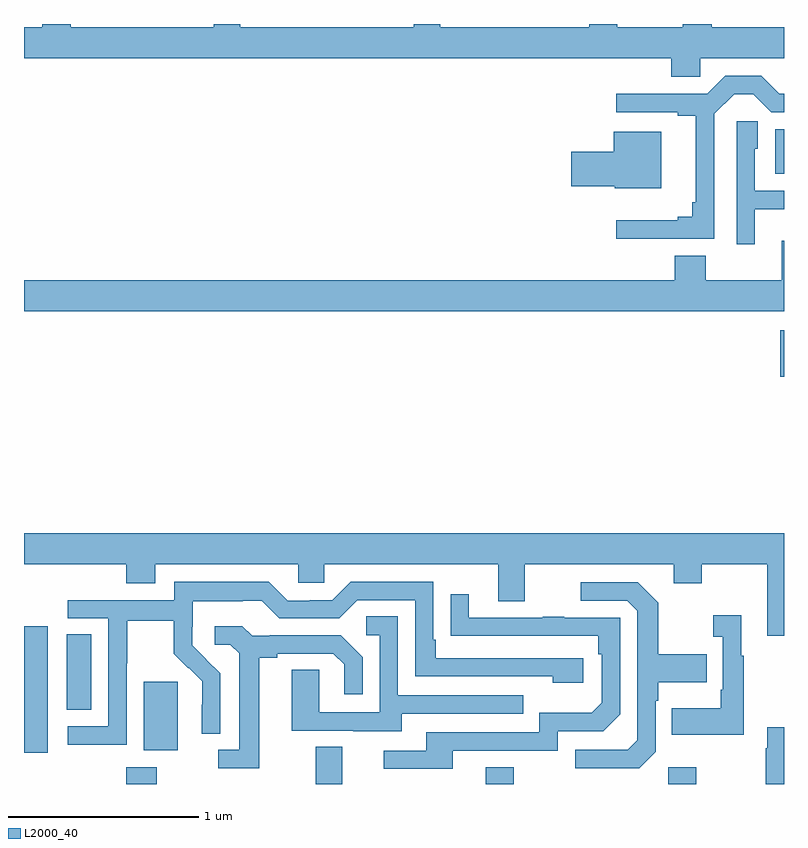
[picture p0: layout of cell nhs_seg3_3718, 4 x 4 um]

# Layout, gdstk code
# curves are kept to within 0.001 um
import gdstk
lib = gdstk.Library(unit=1e-6, precision=1e-09)
def R(c, l, rs):  # rectangles x0, y0, x1, y1
    for r in rs: c.add(gdstk.rectangle(r[:2], r[2:], *l))
def P(c, l, *ps):  # polygons
    for p in ps: c.add(gdstk.Polygon(p, *l))
L2000_40 = (2000, 40)

nhs_seg3_3718 = lib.new_cell('nhs_seg3_3718')
R(nhs_seg3_3718, L2000_40, [(303.539,726.4,303.699,726.487), (304.535,726.4,304.675,726.596), (305.429,726.4,305.577,726.487), (306.39,726.4,306.537,726.487), (303,726.564,303.124,727.231), (303.629,726.578,303.808,726.939), (303.224,726.79,303.355,727.187), (306.98,728.543,307,728.788), (306.953,729.611,307,729.847)])
P(nhs_seg3_3718, L2000_40, [(306.558,730.22),(307,730.22),(307,730.384),(306.62,730.384),(306.62,730.4),(306.467,730.4),(306.467,730.384),(306.123,730.384),(306.123,730.4),(305.975,730.4),(305.975,730.384),(305.191,730.384),(305.191,730.4),(305.051,730.4),(305.051,730.384),(304.137,730.384),(304.137,730.4),(303.999,730.4),(303.999,730.384),(303.247,730.384),(303.247,730.4),(303.095,730.4),(303.095,730.384),(303,730.384),(303,730.22),(306.407,730.22),(306.407,730.122),(306.558,730.122)],
  [(306.329,729.27),(306.633,729.27),(306.633,729.927),(306.737,730.031),(306.838,730.031),(306.933,729.936),(307,729.936),(307,730.032),(306.975,730.032),(306.879,730.128),(306.692,730.128),(306.596,730.032),(306.363,730.032),(306.363,730.034),(306.117,730.034),(306.117,729.936),(306.44,729.936),(306.44,729.916),(306.536,729.916),(306.536,729.463),(306.517,729.463),(306.517,729.386),(306.44,729.386),(306.44,729.367),(306.117,729.367),(306.117,729.269)],
  [(306.847,729.425),(307,729.425),(307,729.522),(306.846,729.522),(306.846,729.744),(306.862,729.744),(306.862,729.887),(306.75,729.887),(306.75,729.24),(306.847,729.24)],
  [(306.355,729.832),(306.104,729.832),(306.104,729.728),(305.88,729.728),(305.88,729.545),(306.108,729.545),(306.108,729.536),(306.355,729.536)],
  [(307,729.259),(306.989,729.259),(306.989,729.052),(306.589,729.052),(306.589,729.181),(306.425,729.181),(306.425,729.052),(303,729.052),(303,728.888),(307,728.888)],
  [(307,727.72),(303,727.72),(303,727.556),(303.539,727.556),(303.539,727.457),(303.691,727.457),(303.691,727.556),(304.443,727.556),(304.443,727.458),(304.581,727.458),(304.581,727.556),(305.495,727.556),(305.495,727.362),(305.635,727.362),(305.635,727.556),(306.419,727.556),(306.419,727.457),(306.567,727.457),(306.567,727.556),(306.911,727.556),(306.911,727.179),(307,727.179)],
  [(303.54,727.036),(303.543,727.036),(303.543,727.26),(303.787,727.26),(303.787,727.085),(303.864,727.008),(303.867,727.011),(303.938,726.941),(303.938,726.818),(303.936,726.818),(303.936,726.664),(304.032,726.664),(304.032,726.982),(303.886,727.13),(303.886,727.227),(303.888,727.227),(303.888,727.361),(304.151,727.361),(304.151,727.365),(304.251,727.365),(304.344,727.272),(304.659,727.272),(304.755,727.368),(305.058,727.368),(305.058,726.966),(305.783,726.966),(305.783,726.932),(305.944,726.932),(305.944,727.062),(305.167,727.062),(305.167,727.159),(305.154,727.159),(305.154,727.464),(304.719,727.464),(304.623,727.368),(304.505,727.368),(304.505,727.365),(304.389,727.365),(304.289,727.465),(303.792,727.465),(303.792,727.368),(303.231,727.368),(303.231,727.272),(303.444,727.272),(303.444,726.705),(303.231,726.705),(303.231,726.607),(303.54,726.607)],
  [(306.324,726.57),(306.324,726.839),(306.337,726.839),(306.337,726.935),(306.593,726.935),(306.593,727.083),(306.337,727.083),(306.337,727.355),(306.231,727.461),(305.931,727.461),(305.931,727.365),(306.174,727.365),(306.228,727.311),(306.228,726.63),(306.177,726.579),(305.901,726.579),(305.901,726.483),(306.237,726.483)],
  [(305.257,726.576),(305.808,726.576),(305.808,726.678),(306.048,726.678),(306.138,726.768),(306.138,727.275),(305.843,727.275),(305.843,727.28),(305.731,727.28),(305.731,727.275),(305.341,727.275),(305.341,727.399),(305.245,727.399),(305.245,727.18),(306.022,727.179),(306.022,727.082),(306.042,727.082),(306.042,726.828),(305.989,726.775),(305.712,726.775),(305.712,726.672),(305.117,726.672),(305.117,726.576),(304.893,726.576),(304.893,726.48),(305.257,726.48)],
  [(306.787,727.075),(306.775,727.075),(306.775,727.288),(306.627,727.288),(306.627,727.175),(306.678,727.175),(306.678,726.895),(306.666,726.895),(306.666,726.799),(306.409,726.799),(306.409,726.659),(306.787,726.659)],
  [(304.987,726.771),(305.627,726.771),(305.627,726.867),(304.968,726.867),(304.968,727.283),(304.8,727.283),(304.8,727.182),(304.872,727.182),(304.872,726.777),(304.554,726.777),(304.554,727.001),(304.409,727.001),(304.409,726.681),(304.733,726.681),(304.733,726.677),(304.987,726.677)],
  [(304.237,727.064),(304.333,727.064),(304.333,727.086),(304.628,727.086),(304.685,727.029),(304.685,726.873),(304.782,726.873),(304.782,727.066),(304.666,727.182),(304.294,727.182),(304.294,727.179),(304.2,727.179),(304.148,727.231),(304.005,727.231),(304.005,727.134),(304.086,727.134),(304.133,727.087),(304.133,726.579),(304.023,726.579),(304.023,726.483),(304.237,726.483)],
  [(307,726.7),(306.911,726.7),(306.911,726.587),(306.904,726.587),(306.904,726.4),(307,726.4)])

lib.write_gds('nhs_seg3_3718.gds')
